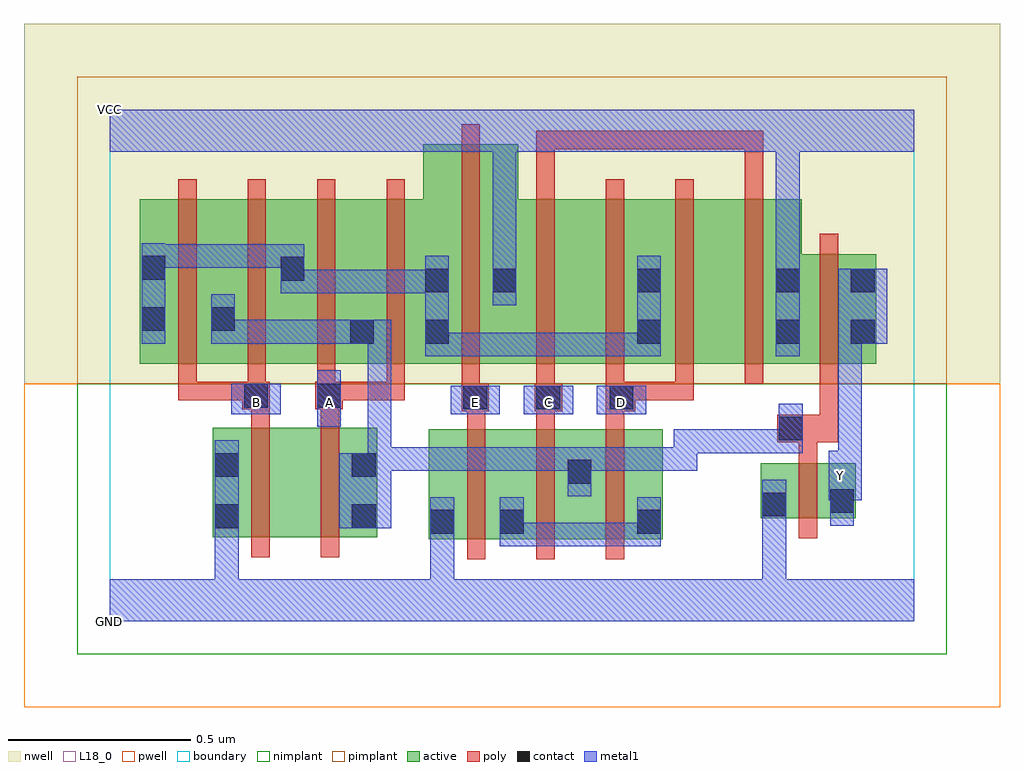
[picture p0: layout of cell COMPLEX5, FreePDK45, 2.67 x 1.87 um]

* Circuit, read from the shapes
.subckt COMPLEX5 A B C D E GND VCC Y
M1 n1 B GND VSUBS nfet w=0.3u l=0.05u
M2 n2 A n1 VSUBS nfet w=0.3u l=0.05u
M3 n3 E GND VSUBS nfet w=0.3u l=0.05u
M4 n2 C n3 VSUBS nfet w=0.3u l=0.05u
M5 n3 D n2 VSUBS nfet w=0.3u l=0.05u
M6 Y n2 GND VSUBS nfet w=0.15u l=0.05u
M7 n2 B n4 n5 pfet w=0.45u l=0.05u m=2
M8 n2 A n4 n5 pfet w=0.45u l=0.05u m=2
M9 VCC E n4 n5 pfet w=0.6u l=0.05u
M10 n6 C VCC n5 pfet w=0.45u l=0.05u
M11 n4 D n6 n5 pfet w=0.45u l=0.05u
M12 n7 D n4 n5 pfet w=0.45u l=0.05u
M13 VCC C n7 n5 pfet w=0.45u l=0.05u
M14 Y n2 VCC n5 pfet w=0.3u l=0.05u
.ends

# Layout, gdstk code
import gdstk
lib = gdstk.Library(unit=1e-6, precision=1e-09)
def R(c, l, rs):  # rectangles x0, y0, x1, y1
    for r in rs: c.add(gdstk.rectangle(r[:2], r[2:], *l))
def A(c, l, x, y, w, h, nx, ny, dx, dy):  # array of equal rectangles
    R(c, l, [(x+i*dx, y+j*dy, x+i*dx+w, y+j*dy+h) for i in range(nx) for j in range(ny)])
active = (1, 0)
pwell = (2, 0)
nwell = (3, 0)
nimplant = (4, 0)
pimplant = (5, 0)
poly = (9, 0)
contact = (10, 0)
metal1 = (11, 0)
L18_0 = (18, 0)
boundary = (235, 0)

complex5 = lib.new_cell('COMPLEX5')
A(complex5, active, 0.082, 0.705, 0.265, 0.45, 3, 1, 0.19, 0)
R(complex5, active, [(0.872,0.225,0.947,0.525), (0.872,0.225,1.137,0.525), (1.062,0.225,1.322,0.525), (1.062,0.225,1.137,0.397), (1.247,0.225,1.512,0.525), (1.437,0.225,1.512,0.525), (0.282,0.23,0.357,0.53), (0.282,0.23,0.507,0.53), (0.507,0.23,0.732,0.53), (0.657,0.23,0.732,0.53), (1.78,0.282,1.855,0.432), (1.78,0.282,2.04,0.432), (1.965,0.282,2.04,0.432), (1.247,0.295,1.322,0.447), (0.082,0.705,0.157,1.155), (0.272,0.705,0.347,1.07), (0.652,0.705,0.932,1.155), (0.652,0.705,0.727,1.07), (0.857,0.705,1.117,1.305), (0.857,0.705,0.932,1.2), (1.042,0.705,1.287,1.155), (1.287,0.705,1.512,1.155), (1.437,0.705,1.512,1.155), (1.437,0.705,1.667,1.155), (1.667,0.705,1.892,1.155), (1.817,0.705,2.097,1.005), (1.817,0.705,1.892,1.155), (2.022,0.705,2.097,1.005), (1.042,0.822,1.117,1.197), (0.462,0.857,0.537,1.155)])
R(complex5, pwell, [(-0.235,-0.235,2.435,0.65)])
R(complex5, nwell, [(-0.235,0.65,2.435,1.635)])
R(complex5, nimplant, [(-0.09,-0.09,2.29,0.65)])
R(complex5, pimplant, [(-0.09,0.65,2.29,1.49)])
A(complex5, poly, 0.977, 0.17, 0.05, 0.41, 3, 1, 0.19, 0)
A(complex5, poly, 0.977, 0.53, 0.05, 0.095, 3, 1, 0.19, 0)
A(complex5, poly, 0.187, 0.605, 0.05, 0.095, 4, 1, 0.19, 0)
A(complex5, poly, 0.187, 0.65, 0.05, 0.56, 4, 1, 0.19, 0)
A(complex5, poly, 1.167, 0.65, 0.05, 0.56, 4, 1, 0.19, 0)
R(complex5, poly, [(0.387,0.175,0.437,0.585), (0.577,0.175,0.627,0.585), (1.885,0.227,1.935,0.487), (1.885,0.437,1.935,0.54), (1.825,0.49,1.992,0.565), (1.942,0.515,1.992,0.7), (0.387,0.535,0.437,0.63), (0.577,0.535,0.627,0.63), (0.962,0.575,1.037,0.65), (1.162,0.575,1.237,0.65), (1.357,0.575,1.437,0.655), (0.362,0.58,0.437,0.655), (0.562,0.58,0.637,0.655), (0.962,0.6,1.012,0.7), (1.167,0.6,1.217,0.7), (0.187,0.605,0.237,0.655), (0.187,0.605,0.412,0.655), (0.362,0.605,0.412,0.655), (0.362,0.605,0.412,0.655), (0.587,0.605,0.637,0.655), (0.587,0.605,0.637,0.655), (0.587,0.605,0.807,0.655), (0.757,0.605,0.807,0.655), (1.357,0.605,1.407,0.7), (1.387,0.605,1.437,0.655), (1.387,0.605,1.437,0.655), (1.387,0.605,1.597,0.655), (1.547,0.605,1.597,0.655), (1.547,0.605,1.597,0.7), (0.962,0.65,1.012,1.36), (1.942,0.65,1.992,1.06), (1.167,1.16,1.217,1.342), (1.737,1.16,1.787,1.342), (1.167,1.292,1.217,1.342), (1.167,1.292,1.217,1.342), (1.167,1.292,1.217,1.342), (1.167,1.292,1.437,1.342), (1.387,1.292,1.437,1.342), (1.387,1.292,1.437,1.342), (1.387,1.292,1.437,1.342), (1.387,1.292,1.57,1.342), (1.52,1.292,1.787,1.342), (1.52,1.292,1.57,1.342), (1.52,1.292,1.57,1.342), (1.52,1.292,1.57,1.342), (1.737,1.292,1.787,1.342)])
A(complex5, contact, 0.967, 0.58, 0.065, 0.065, 3, 1, 0.2, 0)
R(complex5, contact, [(0.877,0.24,0.942,0.305), (1.067,0.24,1.132,0.305), (1.442,0.24,1.507,0.305), (0.287,0.255,0.352,0.32), (0.662,0.255,0.727,0.32), (1.785,0.287,1.85,0.352), (1.97,0.297,2.035,0.362), (1.252,0.377,1.317,0.442), (0.287,0.395,0.352,0.46), (0.662,0.395,0.727,0.46), (1.83,0.495,1.895,0.56), (0.367,0.585,0.432,0.65), (0.567,0.585,0.632,0.65), (0.657,0.76,0.722,0.825), (0.862,0.76,0.927,0.825), (1.442,0.76,1.507,0.825), (1.822,0.76,1.887,0.825), (2.027,0.76,2.092,0.825), (0.087,0.795,0.152,0.86), (0.277,0.795,0.342,0.86), (0.862,0.9,0.927,0.965), (1.047,0.9,1.112,0.965), (1.442,0.9,1.507,0.965), (1.822,0.9,1.887,0.965), (2.027,0.9,2.092,0.965), (0.467,0.932,0.532,0.997), (0.087,0.935,0.152,1)])
A(complex5, metal1, 0.932, 0.567, 0.135, 0.078, 3, 1, 0.2, 0)
R(complex5, metal1, [(0,0,2.2,0.115), (0.287,0.05,0.352,0.285), (0.877,0.05,0.942,0.115), (0.877,0.05,0.942,0.115), (0.877,0.05,0.942,0.27), (1.785,0.05,1.85,0.115), (1.785,0.05,1.85,0.115), (1.785,0.05,1.85,0.115), (1.785,0.05,1.85,0.115), (1.785,0.05,1.85,0.317), (0.877,0.205,0.942,0.34), (1.067,0.205,1.132,0.27), (1.067,0.205,1.132,0.27), (1.067,0.205,1.132,0.34), (1.067,0.205,1.332,0.27), (1.267,0.205,1.332,0.27), (1.267,0.205,1.332,0.27), (1.267,0.205,1.332,0.27), (1.267,0.205,1.507,0.27), (1.442,0.205,1.507,0.34), (0.287,0.22,0.352,0.285), (0.287,0.22,0.352,0.285), (0.287,0.22,0.352,0.495), (1.785,0.252,1.85,0.387), (0.627,0.255,0.77,0.46), (1.97,0.262,2.035,0.397), (1.967,0.332,2.057,0.467), (1.97,0.332,2.035,0.397), (1.252,0.342,1.317,0.477), (0.705,0.395,0.77,0.46), (0.705,0.395,0.77,0.46), (0.705,0.395,0.77,0.46), (0.705,0.395,0.77,0.477), (0.705,0.395,0.77,0.825), (1.992,0.402,2.057,0.825), (0.705,0.412,0.975,0.477), (0.91,0.412,0.975,0.477), (0.91,0.412,0.975,0.477), (0.91,0.412,0.975,0.477), (0.91,0.412,1.18,0.477), (1.115,0.412,1.18,0.477), (1.115,0.412,1.18,0.477), (1.115,0.412,1.18,0.477), (1.115,0.412,1.317,0.477), (1.252,0.412,1.317,0.477), (1.252,0.412,1.317,0.477), (1.252,0.412,1.47,0.477), (1.405,0.412,1.47,0.477), (1.405,0.412,1.47,0.477), (1.405,0.412,1.47,0.477), (1.405,0.412,1.607,0.477), (1.542,0.412,1.607,0.477), (1.542,0.412,1.607,0.525), (1.542,0.46,1.607,0.525), (1.542,0.46,1.607,0.525), (1.542,0.46,1.607,0.525), (1.542,0.46,1.895,0.525), (1.83,0.46,1.895,0.525), (1.83,0.46,1.895,0.525), (1.83,0.46,1.895,0.595), (0.567,0.532,0.632,0.687), (0.332,0.567,0.467,0.65), (0.862,0.725,0.927,0.79), (0.862,0.725,0.927,0.79), (0.862,0.725,0.927,0.79), (0.862,0.725,0.927,0.79), (0.862,0.725,0.927,1), (0.862,0.725,1.18,0.79), (1.115,0.725,1.18,0.79), (1.115,0.725,1.18,0.79), (1.115,0.725,1.18,0.79), (1.115,0.725,1.317,0.79), (1.252,0.725,1.317,0.79), (1.252,0.725,1.317,0.79), (1.252,0.725,1.317,0.79), (1.252,0.725,1.507,0.79), (1.442,0.725,1.507,1), (1.822,0.725,1.887,1), (0.087,0.76,0.152,1.035), (0.277,0.76,0.342,0.825), (0.277,0.76,0.342,0.825), (0.277,0.76,0.342,0.895), (0.277,0.76,0.55,0.825), (0.485,0.76,0.55,0.825), (0.485,0.76,0.55,0.825), (0.485,0.76,0.55,0.825), (0.485,0.76,0.687,0.825), (0.622,0.76,0.77,0.825), (1.992,0.76,2.127,0.965), (1.047,0.865,1.112,1), (0.467,0.897,0.532,0.962), (0.467,0.897,0.532,0.962), (0.467,0.897,0.532,1.032), (0.467,0.897,0.77,0.962), (0.705,0.897,0.77,0.962), (0.705,0.897,0.77,0.962), (0.705,0.897,0.77,0.962), (0.705,0.897,0.927,0.962), (1.047,0.935,1.112,1.35), (1.822,0.935,1.887,1.35), (0.087,0.967,0.152,1.032), (0.087,0.967,0.152,1.032), (0.087,0.967,0.29,1.032), (0.225,0.967,0.29,1.032), (0.225,0.967,0.29,1.032), (0.225,0.967,0.29,1.032), (0.225,0.967,0.532,1.032), (0,1.285,2.2,1.4), (1.822,1.285,1.887,1.35), (1.822,1.285,1.887,1.35)])
A(complex5, L18_0, 0.932, 0.567, 0.135, 0.078, 3, 1, 0.2, 0)
A(complex5, L18_0, 0.967, 0.567, 0.065, 0.065, 3, 1, 0.2, 0)
R(complex5, L18_0, [(0,0,2.2,0.115), (0.287,0.05,0.352,0.285), (0.877,0.05,0.942,0.115), (0.877,0.05,0.942,0.115), (0.877,0.05,0.942,0.27), (1.785,0.05,1.85,0.115), (1.785,0.05,1.85,0.115), (1.785,0.05,1.85,0.115), (1.785,0.05,1.85,0.115), (1.785,0.05,1.85,0.317), (0.877,0.205,0.942,0.34), (0.287,0.22,0.352,0.285), (0.287,0.22,0.352,0.285), (0.287,0.22,0.352,0.495), (1.785,0.252,1.85,0.387), (1.97,0.262,2.035,0.397), (1.967,0.332,2.057,0.467), (1.97,0.332,2.035,0.397), (1.967,0.367,2.032,0.432), (1.992,0.402,2.057,0.825), (0.567,0.532,0.632,0.687), (0.332,0.567,0.467,0.65), (0.367,0.567,0.432,0.632), (0.567,0.567,0.632,0.632), (1.822,0.725,1.887,1), (1.992,0.76,2.127,0.965), (1.047,0.865,1.112,1), (1.047,0.935,1.112,1.35), (1.822,0.935,1.887,1.35), (0,1.285,2.2,1.4), (1.822,1.285,1.887,1.35), (1.822,1.285,1.887,1.35)])
R(complex5, boundary, [(0,0,2.2,1.4)])
complex5.add(gdstk.Label('A', (0.6,0.6), layer=11, texttype=0))
complex5.add(gdstk.Label('B', (0.4,0.6), layer=11, texttype=0))
complex5.add(gdstk.Label('C', (1.2,0.6), layer=11, texttype=0))
complex5.add(gdstk.Label('D', (1.4,0.6), layer=11, texttype=0))
complex5.add(gdstk.Label('E', (1,0.6), layer=11, texttype=0))
complex5.add(gdstk.Label('Y', (2,0.4), layer=11, texttype=0))
complex5.add(gdstk.Label('VCC', (0,1.4), layer=11, texttype=0))
complex5.add(gdstk.Label('GND', (0,0), layer=11, texttype=0))

lib.write_gds('COMPLEX5.gds')
